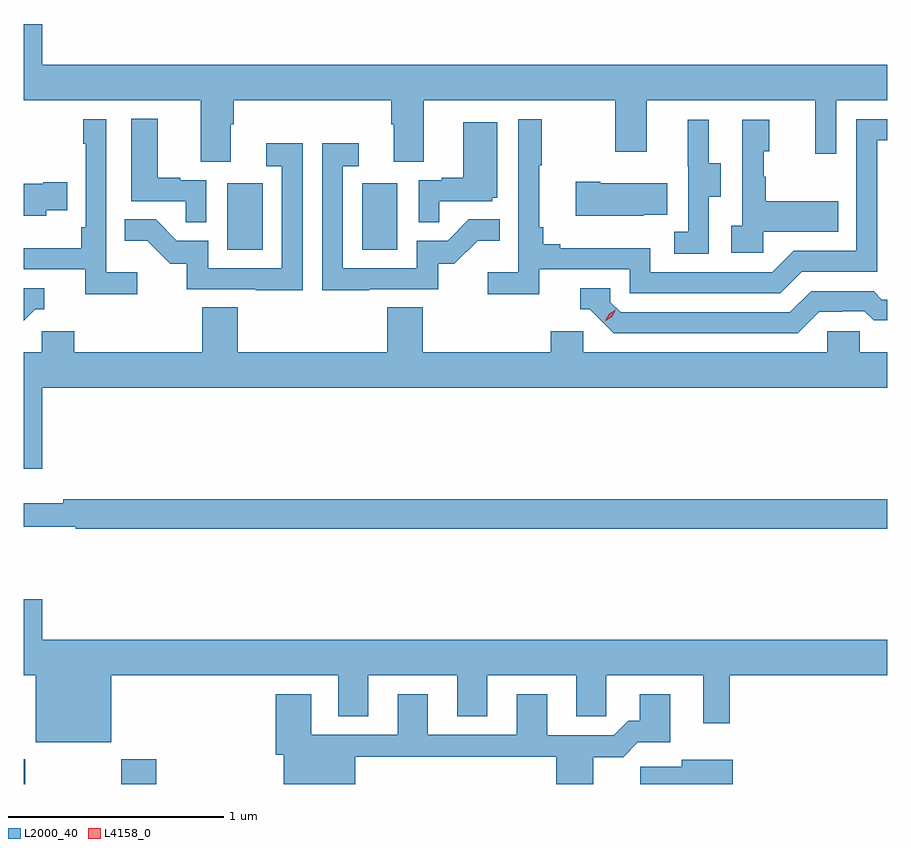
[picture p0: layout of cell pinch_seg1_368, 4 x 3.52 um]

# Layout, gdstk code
import gdstk
lib = gdstk.Library(unit=1e-6, precision=1e-09)
def R(c, l, rs):  # rectangles x0, y0, x1, y1
    for r in rs: c.add(gdstk.rectangle(r[:2], r[2:], *l))
def P(c, l, *ps):  # polygons
    for p in ps: c.add(gdstk.Polygon(p, *l))
L2000_40 = (2000, 40)
L4158_0 = (4158, 0)

pinch_seg1_368 = lib.new_cell('pinch_seg1_368')
R(pinch_seg1_368, L2000_40, [(968.281,539.241,968.289,539.356), (968.734,539.241,968.894,539.356), (969.224,541.716,969.388,542.023), (969.848,541.716,970.012,542.023)])
P(pinch_seg1_368, L2000_40, [(969.241,542.296),(969.254,542.296),(969.254,542.408),(969.983,542.408),(969.983,542.296),(969.995,542.296),(969.995,542.122),(970.135,542.122),(970.135,542.408),(971.02,542.408),(971.02,542.169),(971.167,542.169),(971.167,542.408),(971.948,542.408),(971.948,542.16),(972.045,542.16),(972.045,542.408),(972.281,542.408),(972.281,542.572),(968.368,542.572),(968.368,542.761),(968.281,542.761),(968.281,542.408),(969.101,542.408),(969.101,542.122),(969.241,542.122)],
  [(969.126,542.037),(969.005,542.037),(969.005,542.05),(968.902,542.05),(968.902,542.323),(968.78,542.323),(968.78,541.941),(969.031,541.941),(969.031,541.843),(969.126,541.843)],
  [(968.806,541.612),(968.664,541.612),(968.664,542.32),(968.556,542.32),(968.556,542.207),(968.568,542.207),(968.568,541.819),(968.548,541.819),(968.548,541.723),(968.281,541.723),(968.281,541.626),(968.567,541.626),(968.567,541.51),(968.806,541.51)],
  [(970.67,541.626),(971.088,541.626),(971.088,541.515),(971.785,541.515),(971.884,541.614),(972.234,541.614),(972.234,542.223),(972.281,542.223),(972.281,542.319),(972.138,542.319),(972.138,541.71),(971.847,541.71),(971.748,541.611),(971.184,541.611),(971.184,541.723),(970.765,541.723),(970.765,541.742),(970.688,541.742),(970.688,541.819),(970.669,541.819),(970.669,542.107),(970.681,542.107),(970.681,542.32),(970.572,542.32),(970.572,541.612),(970.431,541.612),(970.431,541.51),(970.67,541.51)],
  [(971.454,541.96),(971.509,541.96),(971.509,542.115),(971.455,542.115),(971.455,542.317),(971.357,542.317),(971.357,542.103),(971.358,542.103),(971.358,541.799),(971.295,541.799),(971.295,541.696),(971.454,541.696)],
  [(971.706,541.799),(972.053,541.799),(972.053,541.939),(971.719,541.939),(971.719,542.054),(971.709,542.054),(971.709,542.172),(971.734,542.172),(971.734,542.317),(971.61,542.317),(971.61,541.826),(971.559,541.826),(971.559,541.701),(971.706,541.701)],
  [(970.205,541.941),(970.452,541.941),(970.452,541.956),(970.474,541.956),(970.474,542.305),(970.316,542.305),(970.316,542.05),(970.217,542.05),(970.217,542.037),(970.11,542.037),(970.11,541.843),(970.205,541.843)],
  [(969.881,541.533),(970.2,541.533),(970.2,541.65),(970.276,541.65),(970.383,541.757),(970.487,541.757),(970.487,541.856),(970.343,541.856),(970.245,541.758),(970.101,541.758),(970.101,541.629),(969.759,541.629),(969.759,542.103),(969.832,542.103),(969.832,542.209),(969.663,542.209),(969.663,541.528),(969.881,541.528)],
  [(969.573,542.209),(969.405,542.209),(969.405,542.103),(969.477,542.103),(969.477,541.629),(969.135,541.629),(969.135,541.758),(968.99,541.758),(968.892,541.856),(968.749,541.856),(968.749,541.757),(968.853,541.757),(968.96,541.65),(969.037,541.65),(969.037,541.533),(969.355,541.533),(969.355,541.528),(969.573,541.528)],
  [(971.153,541.877),(971.261,541.877),(971.261,542.023),(970.951,542.023),(970.951,542.031),(970.839,542.031),(970.839,541.874),(971.153,541.874)],
  [(968.385,541.898),(968.483,541.898),(968.483,542.028),(968.372,542.028),(968.372,542.02),(968.281,542.02),(968.281,541.874),(968.385,541.874)],
  [(971.965,541.428),(972.072,541.428),(972.072,541.431),(972.175,541.431),(972.217,541.389),(972.281,541.389),(972.281,541.485),(972.256,541.485),(972.217,541.524),(971.928,541.524),(971.829,541.425),(971.046,541.425),(970.998,541.473),(970.998,541.536),(970.859,541.536),(970.859,541.44),(970.902,541.44),(971.013,541.329),(971.866,541.329)],
  [(968.334,541.44),(968.377,541.44),(968.377,541.536),(968.281,541.536),(968.281,541.387)],
  [(968.368,541.076),(972.281,541.076),(972.281,541.24),(972.153,541.24),(972.153,541.338),(972.003,541.338),(972.003,541.24),(970.872,541.24),(970.872,541.338),(970.721,541.338),(970.721,541.24),(970.13,541.24),(970.13,541.448),(969.965,541.448),(969.965,541.24),(969.272,541.24),(969.272,541.448),(969.107,541.448),(969.107,541.24),(968.516,541.24),(968.516,541.338),(968.364,541.338),(968.364,541.24),(968.281,541.24),(968.281,540.702),(968.368,540.702)],
  [(972.281,540.56),(968.464,540.56),(968.464,540.541),(968.281,540.541),(968.281,540.432),(968.522,540.432),(968.522,540.424),(972.281,540.424)],
  [(968.686,539.744),(969.737,539.744),(969.737,539.554),(969.877,539.554),(969.877,539.744),(970.289,539.744),(970.289,539.554),(970.429,539.554),(970.429,539.744),(970.841,539.744),(970.841,539.554),(970.98,539.554),(970.98,539.744),(971.429,539.744),(971.429,539.523),(971.551,539.523),(971.551,539.744),(972.281,539.744),(972.281,539.908),(968.368,539.908),(968.368,540.097),(968.281,540.097),(968.281,539.744),(968.336,539.744),(968.336,539.435),(968.686,539.435)],
  [(969.817,539.368),(970.748,539.368),(970.748,539.241),(970.918,539.241),(970.918,539.366),(971.057,539.366),(971.126,539.435),(971.275,539.435),(971.275,539.656),(971.135,539.656),(971.135,539.533),(971.08,539.533),(971.013,539.466),(970.705,539.466),(970.705,539.656),(970.565,539.656),(970.565,539.469),(970.153,539.469),(970.153,539.656),(970.013,539.656),(970.013,539.469),(969.613,539.469),(969.613,539.656),(969.449,539.656),(969.449,539.376),(969.485,539.376),(969.485,539.241),(969.817,539.241)],
  [(971.566,539.353),(971.33,539.353),(971.33,539.321),(971.136,539.321),(971.136,539.241),(971.566,539.241)])
P(pinch_seg1_368, L4158_0, [(970.975,541.386),(970.975,541.386),(970.992,541.419),(971.023,541.438),(971.023,541.438),(971.023,541.438),(971.007,541.405),(970.976,541.386)])

lib.write_gds('pinch_seg1_368.gds')
